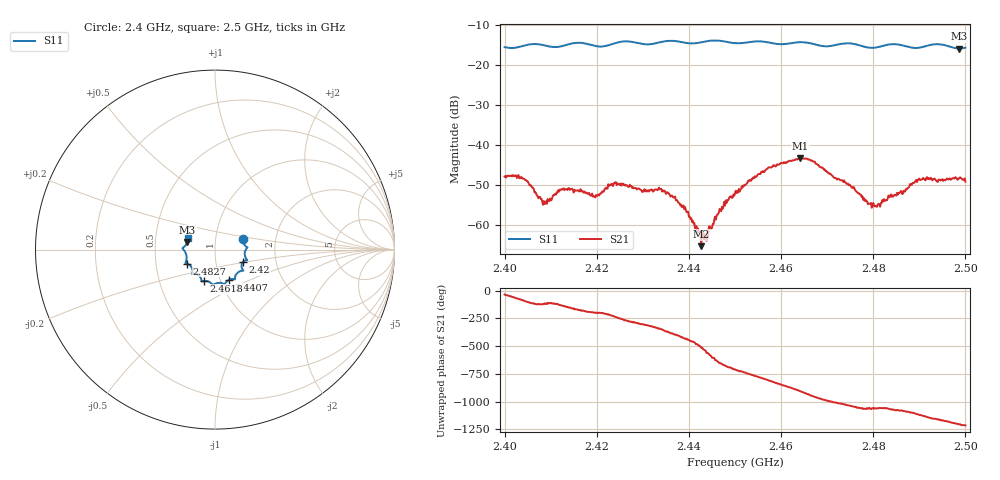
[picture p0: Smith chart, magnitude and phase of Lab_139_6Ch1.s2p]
# Hz S RI R 50
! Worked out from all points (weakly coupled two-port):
!   601 points, 2.4 GHz to 2.5 GHz, reference 50 ohm
!   highest |S21| = -43.36 dB at 2.4642 GHz (marker M1); lowest = -65.3 dB at 2.4427 GHz (marker M2)
!   lowest |S11| = -15.9 dB at 2.4987 GHz (marker M3), VSWR 1.38, Z = 36.5 + j3.24 ohm
!   |S11| at or under -10 dB: start of sweep to end of sweep
!   S12 and S22 are empty: the file has one direction only
!   S11 on the Smith chart (normalised r, x): 2.4 GHz: 1.35, +0.17; 2.42 GHz: 1.35, -0.19; 2.4407 GHz: 1.10, -0.38; 2.4618 GHz: 0.83, -0.30; 2.4827 GHz: 0.72, -0.12; 2.5 GHz: 0.73, +0.10
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2.4e9  0.1547 0.0613  0.00327 -0.00233  0 0  0 0
2.404167e9  0.1729 0.017  2.51e-05 -0.00378  0 0  0 0
2.408667e9  0.1752 0.00572  -0.000783 -0.00165  0 0  0 0
2.412167e9  0.1665 -0.0331  -0.00184 -0.00207  0 0  0 0
2.416667e9  0.1789 -0.0585  -0.00261 0.000122  0 0  0 0
2.42e9  0.1564 -0.0692  -0.00213 0.000838  0 0  0 0
2.423667e9  0.1508 -0.106  -0.00201 0.00255  0 0  0 0
2.433333e9  0.1116 -0.1529  0.00264 0.000789  0 0  0 0
2.436833e9  0.11 -0.1657  0.00184 -0.00123  0 0  0 0
2.440667e9  0.0791 -0.1675  -0.000198 -0.00107  0 0  0 0
2.442667e9  0.0618 -0.1811  -0.00049 -0.000234  0 0  0 0
2.443667e9  0.057 -0.1879  -0.000711 4.28e-05  0 0  0 0
2.45e9  0.0269 -0.1848  0.00245 0.0004  0 0  0 0
2.461833e9  -0.0615 -0.1747  -0.0056 -0.00296  0 0  0 0
2.464167e9  -0.0739 -0.1775  -0.00674 0.000891  0 0  0 0
2.466667e9  -0.0758 -0.1682  -0.00436 0.00466  0 0  0 0
2.479333e9  -0.1302 -0.0986  0.00176 0.000519  0 0  0 0
2.482667e9  -0.1581 -0.0778  0.00192 0.000636  0 0  0 0
2.483333e9  -0.162 -0.0769  0.00224 0.000646  0 0  0 0
2.490333e9  -0.1645 -0.0167  0.00269 -0.0025  0 0  0 0
2.498667e9  -0.154 0.0432  -0.00228 -0.00308  0 0  0 0
2.5e9  -0.1513 0.0634  -0.00247 -0.00244  0 0  0 0
